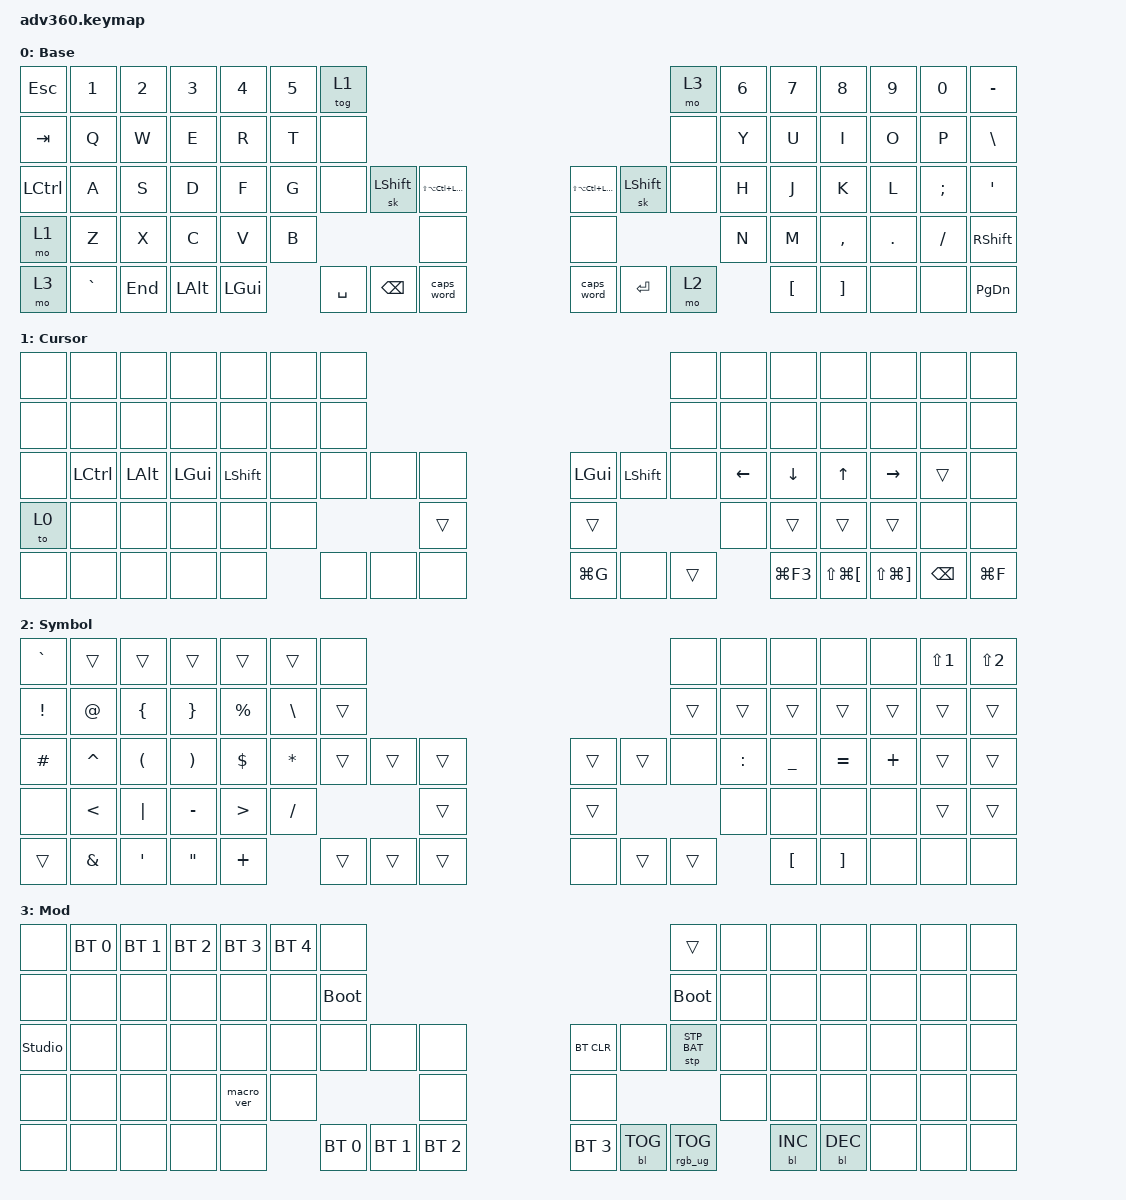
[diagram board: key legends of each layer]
#include <dt-bindings/zmk/stp.h>
#include <behaviors.dtsi>
#include <dt-bindings/zmk/backlight.h>
#include <dt-bindings/zmk/bt.h>
#include <dt-bindings/zmk/keys.h>
#include <dt-bindings/zmk/rgb.h>

#define HYPR LA(LS(LG(LCTRL)))

&sk { quick-release; };

/ {
    behaviors {
        #include "macros.dtsi"
      #include "version.dtsi"

        hm: homerow_mods {
            compatible = "zmk,behavior-hold-tap";
            label = "HOMEROW_MODS";
            #binding-cells = <2>;
            tapping-term-ms = <200>;
            quick_tap_ms = <175>;
            flavor = "tap-preferred";
            bindings = <&kp>, <&kp>;
        };
    };

    combos {
        compatible = "zmk,combos";

        combo_backspace {
            key-positions = <49 50>;
            bindings = <&kp BSPC>;
        };

        combo_Enter {
            key-positions = <41 42>;
            bindings = <&kp RET>;
        };
    };

    keymap {
        compatible = "zmk,keymap";

        default_layer {
            display-name = "Base";
            bindings = <
&kp ESC    &kp N1     &kp N2   &kp N3    &kp N4    &kp N5  &tog 1                                                                                   &mo 3  &kp N6  &kp N7    &kp N8     &kp N9   &kp N0    &kp MINUS
&kp TAB    &kp Q      &kp W    &kp E     &kp R     &kp T   &none                                                                                    &none  &kp Y   &kp U     &kp I      &kp O    &kp P     &kp BSLH
&kp LCTRL  &kp A      &kp S    &kp D     &kp F     &kp G   &none      &sk LSHFT  &kp LS(LA(LC(LEFT_GUI)))      &kp LS(LA(LC(LEFT_GUI)))  &sk LSHFT  &none  &kp H   &kp J     &kp K      &kp L    &kp SEMI  &kp SQT
&mo 1      &kp Z      &kp X    &kp C     &kp V     &kp B                         &none                         &none                                       &kp N   &kp M     &kp COMMA  &kp DOT  &kp FSLH  &kp RSHFT
&mo 3      &kp GRAVE  &kp END  &kp LALT  &kp LGUI          &kp SPACE  &kp BSPC   &caps_word                    &caps_word                &kp RET    &mo 2          &kp LBKT  &kp RBKT   &none    &none     &kp PG_DN
            >;
        };

        cursor {
            display-name = "Cursor";
            bindings = <
&none  &none      &none         &none         &none           &none  &none                                           &none   &none     &none       &none             &none             &none     &none
&none  &none      &none         &none         &none           &none  &none                                           &none   &none     &none       &none             &none             &none     &none
&none  &kp LCTRL  &kp LEFT_ALT  &kp LEFT_GUI  &kp LEFT_SHIFT  &none  &none  &none  &none       &kp LGUI   &kp LSHFT  &none   &kp LEFT  &kp DOWN    &kp UP            &kp RIGHT         &trans    &none
&to 0  &none      &none         &none         &none           &none                &trans      &trans                        &none     &trans      &trans            &trans            &none     &none
&none  &none      &none         &none         &none                  &none  &none  &none       &kp LG(G)  &none      &trans            &kp LG(F3)  &kp LS(LG(LBKT))  &kp LS(LG(RBKT))  &kp BSPC  &kp LG(F)
            >;
        };

        symbol {
            display-name = "Symbol";
            bindings = <
&kp GRAVE        &trans         &trans                &trans                 &trans            &trans         &none                                       &none   &none      &none             &none              &none     &kp LS(N1)  &kp LS(N2)
&kp EXCLAMATION  &kp AT_SIGN    &kp LEFT_BRACE        &kp RIGHT_BRACE        &kp PERCENT       &kp BACKSLASH  &trans                                      &trans  &trans     &trans            &trans             &trans    &trans      &trans
&kp HASH         &kp CARET      &kp LEFT_PARENTHESIS  &kp RIGHT_PARENTHESIS  &kp DOLLAR        &kp ASTERISK   &trans  &trans  &trans      &trans  &trans  &none   &kp COLON  &kp UNDERSCORE    &kp EQUAL          &kp PLUS  &trans      &trans
&none            &kp LESS_THAN  &kp PIPE              &kp MINUS              &kp GREATER_THAN  &kp SLASH                      &trans      &trans                  &none      &none             &none              &none     &trans      &trans
&trans           &kp AMPERSAND  &kp SQT               &kp DOUBLE_QUOTES      &kp PLUS                         &trans  &trans  &trans      &none   &trans  &trans             &kp LEFT_BRACKET  &kp RIGHT_BRACKET  &none     &none       &none
            >;
        };

        mod {
            display-name = "Mod";
            bindings = <
&none           &bt BT_SEL 0  &bt BT_SEL 1  &bt BT_SEL 2  &bt BT_SEL 3  &bt BT_SEL 4  &none                                                                   &trans           &none  &none       &none       &none  &none  &none
&none           &none         &none         &none         &none         &none         &bootloader                                                             &bootloader      &none  &none       &none       &none  &none  &none
&studio_unlock  &none         &none         &none         &none         &none         &none         &none         &none             &bt BT_CLR    &none       &stp STP_BAT     &none  &none       &none       &none  &none  &none
&none           &none         &none         &none         &macro_ver    &none                                     &none             &none                                      &none  &none       &none       &none  &none  &none
&none           &none         &none         &none         &none                       &bt BT_SEL 0  &bt BT_SEL 1  &bt BT_SEL 2      &bt BT_SEL 3  &bl BL_TOG  &rgb_ug RGB_TOG         &bl BL_INC  &bl BL_DEC  &none  &none  &none
            >;
        };

        extra1 {
            display-name = "Red";
            status = "reserved";
        };

        extra2 {
            display-name = "Purple";
            status = "reserved";
        };

        extra3 {
            display-name = "Cyan";
            status = "reserved";
        };

        extra4 {
            display-name = "Yellow";
            status = "reserved";
        };
    };
};
